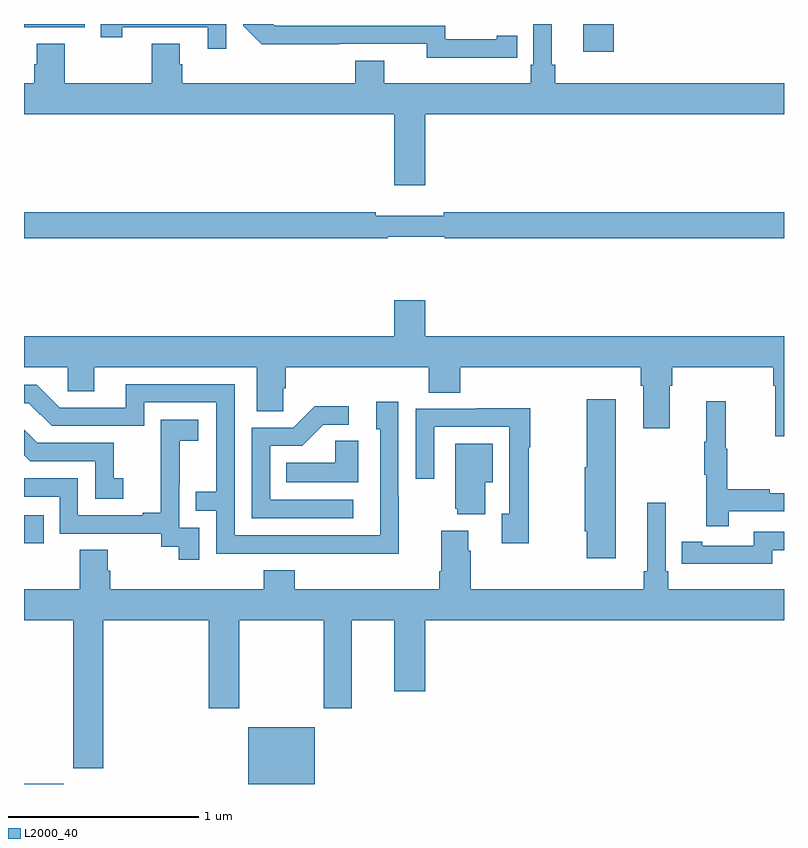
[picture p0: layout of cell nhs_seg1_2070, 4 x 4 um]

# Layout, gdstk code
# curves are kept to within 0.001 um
import gdstk
lib = gdstk.Library(unit=1e-6, precision=1e-09)
def R(c, l, rs):  # rectangles x0, y0, x1, y1
    for r in rs: c.add(gdstk.rectangle(r[:2], r[2:], *l))
def P(c, l, *ps):  # polygons
    for p in ps: c.add(gdstk.Polygon(p, *l))
L2000_40 = (2000, 40)

nhs_seg1_2070 = lib.new_cell('nhs_seg1_2070')
R(nhs_seg1_2070, L2000_40, [(223,556.199,223.21,556.201), (224.18,556.199,224.53,556.498), (223,557.466,223.103,557.613), (225.944,560.052,226.103,560.199), (223,560.181,223.32,560.199)])
P(nhs_seg1_2070, L2000_40, [(225.488,560.022),(225.596,560.022),(225.596,560.138),(225.488,560.138),(225.488,560.118),(225.216,560.118),(225.216,560.19),(224.322,560.19),(224.313,560.199),(224.154,560.199),(224.154,560.19),(224.252,560.093),(225.12,560.094),(225.12,560.021)],
  [(225.112,559.724),(227,559.724),(227,559.888),(225.797,559.888),(225.797,559.984),(225.778,559.984),(225.778,560.199),(225.681,560.199),(225.681,559.984),(225.668,559.984),(225.668,559.888),(224.896,559.888),(224.896,560.005),(224.744,560.005),(224.744,559.888),(223.832,559.888),(223.832,559.986),(223.819,559.986),(223.819,560.096),(223.672,560.096),(223.672,559.888),(223.215,559.888),(223.215,560.096),(223.067,560.096),(223.067,559.986),(223.055,559.986),(223.055,559.888),(223,559.888),(223,559.724),(224.948,559.724),(224.948,559.35),(225.112,559.35)],
  [(224.064,560.199),(223.405,560.199),(223.405,560.13),(223.516,560.13),(223.516,560.181),(223.967,560.181),(223.967,560.07),(224.064,560.07)],
  [(224.914,559.08),(225.214,559.08),(225.214,559.072),(227,559.072),(227,559.208),(225.208,559.208),(225.208,559.189),(224.852,559.189),(224.852,559.208),(223,559.208),(223,559.072),(224.914,559.072)],
  [(227,558.556),(225.112,558.556),(225.112,558.745),(224.948,558.745),(224.948,558.556),(223,558.556),(223,558.392),(223.23,558.392),(223.23,558.265),(223.369,558.265),(223.369,558.392),(224.225,558.392),(224.225,558.16),(224.364,558.16),(224.364,558.283),(224.378,558.283),(224.378,558.392),(225.131,558.392),(225.131,558.259),(225.296,558.259),(225.296,558.392),(226.247,558.392),(226.247,558.296),(226.259,558.296),(226.259,558.072),(226.399,558.072),(226.399,558.296),(226.412,558.296),(226.412,558.392),(226.943,558.392),(226.943,558.296),(226.955,558.296),(226.955,558.03),(227,558.03)],
  [(224.973,557.717),(224.97,557.717),(224.97,558.211),(224.855,558.211),(224.855,558.066),(224.874,558.066),(224.874,557.508),(224.109,557.508),(224.109,558.303),(223.535,558.303),(223.535,558.18),(223.188,558.18),(223.068,558.3),(223,558.3),(223,558.204),(223.026,558.204),(223.146,558.084),(223.632,558.084),(223.632,558.207),(224.013,558.207),(224.013,557.738),(223.903,557.738),(223.903,557.637),(224.013,557.637),(224.013,557.412),(224.973,557.411)],
  [(226.114,558.223),(225.961,558.223),(225.961,557.865),(225.95,557.865),(225.95,557.529),(225.961,557.529),(225.961,557.388),(226.114,557.388)],
  [(226.709,557.634),(227,557.634),(227,557.73),(226.925,557.73),(226.925,557.75),(226.702,557.75),(226.702,557.964),(226.694,557.964),(226.694,558.214),(226.592,558.214),(226.592,558.001),(226.581,558.001),(226.581,557.827),(226.592,557.827),(226.592,557.556),(226.709,557.556)],
  [(224.734,557.694),(224.295,557.694),(224.295,557.979),(224.464,557.979),(224.575,558.09),(224.71,558.09),(224.71,558.188),(224.531,558.188),(224.418,558.075),(224.199,558.075),(224.199,557.598),(224.734,557.598)],
  [(225.656,557.971),(225.664,557.971),(225.664,558.176),(225.379,558.176),(225.379,558.174),(225.063,558.174),(225.063,557.805),(225.159,557.805),(225.159,558.078),(225.555,558.078),(225.555,557.622),(225.515,557.622),(225.515,557.466),(225.656,557.466)],
  [(223.923,557.547),(223.818,557.547),(223.818,557.777),(223.82,557.777),(223.82,558.005),(223.918,558.005),(223.918,558.115),(223.72,558.115),(223.72,557.909),(223.721,557.909),(223.721,557.626),(223.625,557.626),(223.625,557.613),(223.284,557.613),(223.284,557.808),(223,557.808),(223,557.712),(223.188,557.712),(223.188,557.517),(223.722,557.517),(223.722,557.449),(223.815,557.449),(223.815,557.379),(223.923,557.379)],
  [(223.522,557.809),(223.473,557.809),(223.473,557.994),(223.069,557.994),(223,558.063),(223,557.93),(223.032,557.898),(223.374,557.898),(223.374,557.7),(223.522,557.7)],
  [(224.758,558.005),(224.637,558.005),(224.637,557.89),(224.38,557.89),(224.38,557.786),(224.758,557.786)],
  [(225.427,557.786),(225.466,557.786),(225.466,557.989),(225.269,557.989),(225.269,557.649),(225.281,557.649),(225.281,557.618),(225.427,557.618)],
  [(223,557.06),(223.258,557.06),(223.258,556.281),(223.418,556.281),(223.418,557.06),(223.973,557.06),(223.973,556.599),(224.133,556.599),(224.133,557.06),(224.578,557.06),(224.578,556.599),(224.725,556.599),(224.725,557.06),(224.948,557.06),(224.948,556.686),(225.112,556.686),(225.112,557.06),(227,557.06),(227,557.224),(226.391,557.224),(226.391,557.32),(226.377,557.32),(226.377,557.68),(226.28,557.68),(226.28,557.32),(226.261,557.32),(226.261,557.224),(225.35,557.224),(225.35,557.426),(225.337,557.426),(225.337,557.533),(225.197,557.533),(225.197,557.32),(225.185,557.32),(225.185,557.224),(224.426,557.224),(224.426,557.323),(224.261,557.323),(224.261,557.224),(223.454,557.224),(223.454,557.322),(223.441,557.322),(223.441,557.432),(223.294,557.432),(223.294,557.224),(223,557.224)],
  [(226.938,557.43),(227,557.43),(227,557.526),(226.842,557.526),(226.842,557.454),(226.57,557.454),(226.57,557.474),(226.462,557.474),(226.462,557.358),(226.57,557.358),(226.57,557.357),(226.938,557.357)])

lib.write_gds('nhs_seg1_2070.gds')
